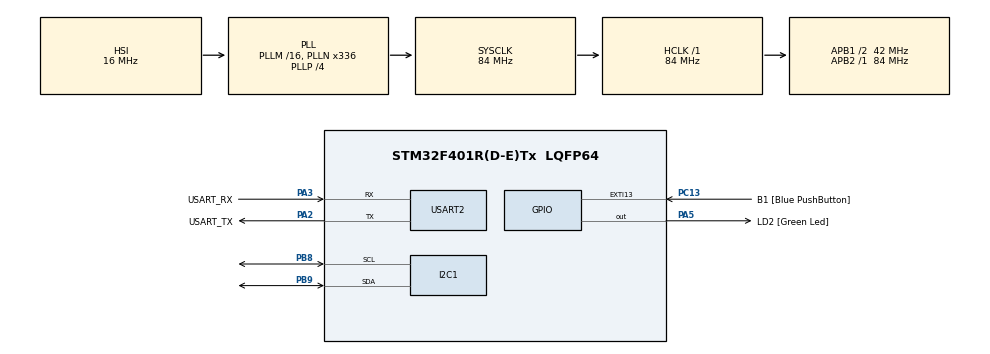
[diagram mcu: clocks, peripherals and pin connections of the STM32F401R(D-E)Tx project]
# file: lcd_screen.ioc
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Mcu.Family=STM32F4
Mcu.Name=STM32F401R(D-E)Tx
Mcu.Package=LQFP64
NVIC.PriorityGroup=NVIC_PRIORITYGROUP_0
PA13.GPIO_Label=TMS
PA13.Mode=Serial_Wire
PA13.Signal=SYS_JTMS-SWDIO
PA14.GPIO_Label=TCK
PA14.Mode=Serial_Wire
PA14.Signal=SYS_JTCK-SWCLK
PA2.GPIO_Label=USART_TX
PA2.GPIO_Mode=GPIO_MODE_AF_PP
PA2.GPIO_PuPd=GPIO_NOPULL
PA2.GPIO_Speed=GPIO_SPEED_FREQ_LOW
PA2.Mode=Asynchronous
PA2.Signal=USART2_TX
PA3.GPIO_Label=USART_RX
PA3.GPIO_Mode=GPIO_MODE_AF_PP
PA3.GPIO_PuPd=GPIO_NOPULL
PA3.GPIO_Speed=GPIO_SPEED_FREQ_LOW
PA3.Mode=Asynchronous
PA3.Signal=USART2_RX
PA5.GPIO_Label=LD2 [Green Led]
PA5.GPIO_Mode=GPIO_MODE_OUTPUT_PP
PA5.GPIO_PuPd=GPIO_NOPULL
PA5.GPIO_Speed=GPIO_SPEED_FREQ_LOW
PA5.Signal=GPIO_Output
PB3.GPIO_Label=SWO
PB3.Signal=SYS_JTDO-SWO
PB8.Mode=I2C
PB8.Signal=I2C1_SCL
PB9.Mode=I2C
PB9.Signal=I2C1_SDA
PC13-ANTI_TAMP.GPIO_Label=B1 [Blue PushButton]
PC13-ANTI_TAMP.GPIO_ModeDefaultEXTI=GPIO_MODE_IT_FALLING
PC13-ANTI_TAMP.GPIO_PuPd=GPIO_NOPULL
PC13-ANTI_TAMP.Signal=GPXTI13
PC14-OSC32_IN.Mode=LSE-External-Oscillator
PC14-OSC32_IN.Signal=RCC_OSC32_IN
PC15-OSC32_OUT.Mode=LSE-External-Oscillator
PC15-OSC32_OUT.Signal=RCC_OSC32_OUT
PH0\ -\ OSC_IN.Mode=HSE-External-Clock-Source
PH0\ -\ OSC_IN.Signal=RCC_OSC_IN
PH1\ -\ OSC_OUT.Mode=HSE-External-Clock-Source
PH1\ -\ OSC_OUT.Signal=RCC_OSC_OUT
ProjectManager.HeapSize=0x200
ProjectManager.StackSize=0x400
ProjectManager.TargetToolchain=STM32CubeIDE
RCC.48MHZClocksFreq_Value=48000000
RCC.AHBFreq_Value=84000000
RCC.APB1CLKDivider=RCC_HCLK_DIV2
RCC.APB1Freq_Value=42000000
RCC.APB1TimFreq_Value=84000000
RCC.APB2Freq_Value=84000000
RCC.APB2TimFreq_Value=84000000
RCC.CortexFreq_Value=84000000
RCC.HCLKFreq_Value=84000000
RCC.HSE_VALUE=8000000
RCC.HSI_VALUE=16000000
RCC.PLLN=336
RCC.PLLP=RCC_PLLP_DIV4
RCC.PLLQ=7
RCC.SYSCLKFreq_VALUE=84000000
RCC.SYSCLKSource=RCC_SYSCLKSOURCE_PLLCLK
RCC.VCOOutputFreq_Value=336000000
USART2.VirtualMode=VM_ASYNC
board=NUCLEO-F401RE

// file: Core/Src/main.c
/* USER CODE BEGIN Header */
/**
  ******************************************************************************
  * @file           : main.c
  * @brief          : Main program body
  ******************************************************************************
  * @attention
  *
  * Copyright (c) 2023 STMicroelectronics.
  * All rights reserved.
  *
  * This software is licensed under terms that can be found in the LICENSE file
  * in the root directory of this software component.
  * If no LICENSE file comes with this software, it is provided AS-IS.
  *
  ******************************************************************************
  */
/* USER CODE END Header */
#include "main.h"

/* USER CODE BEGIN Includes */
#include "liquidcrystal_i2c.h"
/* USER CODE END Includes */

I2C_HandleTypeDef hi2c1;

UART_HandleTypeDef huart2;

void SystemClock_Config(void);
static void MX_GPIO_Init(void);
static void MX_USART2_UART_Init(void);
static void MX_I2C1_Init(void);

int main(void)
{

  /* MCU Configuration--------------------------------------------------------*/

  /* Reset of all peripherals, Initializes the Flash interface and the Systick. */
  HAL_Init();

  /* Configure the system clock */
  SystemClock_Config();

  /* Initialize all configured peripherals */
  MX_GPIO_Init();
  MX_USART2_UART_Init();
  MX_I2C1_Init();
  /* USER CODE BEGIN 2 */
  HD44780_Init(2);
  	//display intiializing message when screen on
    HD44780_Clear();
    HD44780_SetCursor(4,5);
    HD44780_PrintStr("INITIALIZING");
    HAL_Delay(2000);
    HD44780_NoDisplay();
    HAL_Delay(1000);
    HD44780_Display();
    HD44780_Clear();

    //display incrementing heart-rate and changing messages depending on value
    char snum[10];
    for ( int x = 1; x <= 200 ; x++ )
    {
      itoa(x, snum, 10);
      if(x >= 60) {
    	  HD44780_Clear();
    	  HD44780_SetCursor(0,0);
    	  HD44780_PrintStr("You are over-exerting yourself.");
		  for(int x=0; x<40; x+=1)
		  {
			HD44780_ScrollDisplayLeft();  //HD44780_ScrollDisplayRight();
			HAL_Delay(300);
		  }
      } else {
		  HD44780_Clear();
		  HD44780_SetCursor(0,0);
		  HD44780_PrintStr("Current heart-rate");
		  HD44780_SetCursor(0,1);
		  HD44780_PrintStr(snum);
		  HAL_Delay (250);
      }
    }
  /* USER CODE END 2 */

  /* Infinite loop */
  while (1)
  {

  }
}

void SystemClock_Config(void)
{
  RCC_OscInitTypeDef RCC_OscInitStruct = {0};
  RCC_ClkInitTypeDef RCC_ClkInitStruct = {0};

  /** Configure the main internal regulator output voltage
  */
  __HAL_RCC_PWR_CLK_ENABLE();
  __HAL_PWR_VOLTAGESCALING_CONFIG(PWR_REGULATOR_VOLTAGE_SCALE2);

  /** Initializes the RCC Oscillators according to the specified parameters
  * in the RCC_OscInitTypeDef structure.
  */
  RCC_OscInitStruct.OscillatorType = RCC_OSCILLATORTYPE_HSI;
  RCC_OscInitStruct.HSIState = RCC_HSI_ON;
  RCC_OscInitStruct.HSICalibrationValue = RCC_HSICALIBRATION_DEFAULT;
  RCC_OscInitStruct.PLL.PLLState = RCC_PLL_ON;
  RCC_OscInitStruct.PLL.PLLSource = RCC_PLLSOURCE_HSI;
  RCC_OscInitStruct.PLL.PLLM = 16;
  RCC_OscInitStruct.PLL.PLLN = 336;
  RCC_OscInitStruct.PLL.PLLP = RCC_PLLP_DIV4;
  RCC_OscInitStruct.PLL.PLLQ = 7;
  if (HAL_RCC_OscConfig(&RCC_OscInitStruct) != HAL_OK)
  {
    Error_Handler();
  }

  /** Initializes the CPU, AHB and APB buses clocks
  */
  RCC_ClkInitStruct.ClockType = RCC_CLOCKTYPE_HCLK|RCC_CLOCKTYPE_SYSCLK
                              |RCC_CLOCKTYPE_PCLK1|RCC_CLOCKTYPE_PCLK2;
  RCC_ClkInitStruct.SYSCLKSource = RCC_SYSCLKSOURCE_PLLCLK;
  RCC_ClkInitStruct.AHBCLKDivider = RCC_SYSCLK_DIV1;
  RCC_ClkInitStruct.APB1CLKDivider = RCC_HCLK_DIV2;
  RCC_ClkInitStruct.APB2CLKDivider = RCC_HCLK_DIV1;

  if (HAL_RCC_ClockConfig(&RCC_ClkInitStruct, FLASH_LATENCY_2) != HAL_OK)
  {
    Error_Handler();
  }
}

static void MX_I2C1_Init(void)
{

  hi2c1.Instance = I2C1;
  hi2c1.Init.ClockSpeed = 100000;
  hi2c1.Init.DutyCycle = I2C_DUTYCYCLE_2;
  hi2c1.Init.OwnAddress1 = 0;
  hi2c1.Init.AddressingMode = I2C_ADDRESSINGMODE_7BIT;
  hi2c1.Init.DualAddressMode = I2C_DUALADDRESS_DISABLE;
  hi2c1.Init.OwnAddress2 = 0;
  hi2c1.Init.GeneralCallMode = I2C_GENERALCALL_DISABLE;
  hi2c1.Init.NoStretchMode = I2C_NOSTRETCH_DISABLE;
  if (HAL_I2C_Init(&hi2c1) != HAL_OK)
  {
    Error_Handler();
  }

}

static void MX_USART2_UART_Init(void)
{

  huart2.Instance = USART2;
  huart2.Init.BaudRate = 115200;
  huart2.Init.WordLength = UART_WORDLENGTH_8B;
  huart2.Init.StopBits = UART_STOPBITS_1;
  huart2.Init.Parity = UART_PARITY_NONE;
  huart2.Init.Mode = UART_MODE_TX_RX;
  huart2.Init.HwFlowCtl = UART_HWCONTROL_NONE;
  huart2.Init.OverSampling = UART_OVERSAMPLING_16;
  if (HAL_UART_Init(&huart2) != HAL_OK)
  {
    Error_Handler();
  }

}

static void MX_GPIO_Init(void)
{
  GPIO_InitTypeDef GPIO_InitStruct = {0};

  /* GPIO Ports Clock Enable */
  __HAL_RCC_GPIOC_CLK_ENABLE();
  __HAL_RCC_GPIOH_CLK_ENABLE();
  __HAL_RCC_GPIOA_CLK_ENABLE();
  __HAL_RCC_GPIOB_CLK_ENABLE();

  /*Configure GPIO pin Output Level */
  HAL_GPIO_WritePin(LD2_GPIO_Port, LD2_Pin, GPIO_PIN_RESET);

  /*Configure GPIO pin : B1_Pin */
  GPIO_InitStruct.Pin = B1_Pin;
  GPIO_InitStruct.Mode = GPIO_MODE_IT_FALLING;
  GPIO_InitStruct.Pull = GPIO_NOPULL;
  HAL_GPIO_Init(B1_GPIO_Port, &GPIO_InitStruct);

  /*Configure GPIO pin : LD2_Pin */
  GPIO_InitStruct.Pin = LD2_Pin;
  GPIO_InitStruct.Mode = GPIO_MODE_OUTPUT_PP;
  GPIO_InitStruct.Pull = GPIO_NOPULL;
  GPIO_InitStruct.Speed = GPIO_SPEED_FREQ_LOW;
  HAL_GPIO_Init(LD2_GPIO_Port, &GPIO_InitStruct);

}

void Error_Handler(void)
{
  __disable_irq();
  while (1)
  {
  }
}
